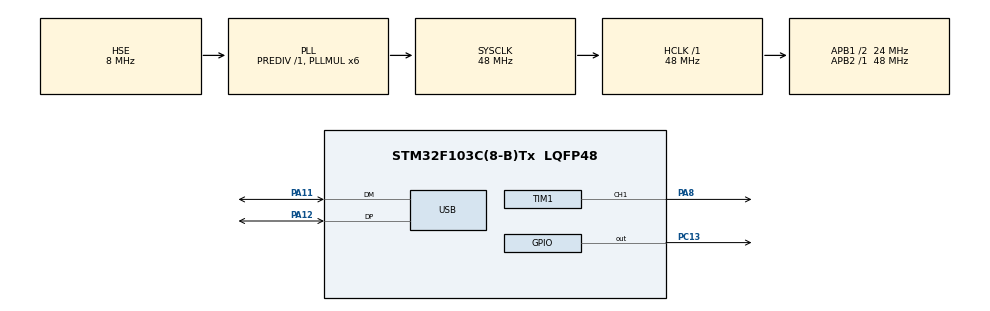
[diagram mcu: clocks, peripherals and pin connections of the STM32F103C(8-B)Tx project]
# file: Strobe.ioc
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Mcu.Family=STM32F1
Mcu.Name=STM32F103C(8-B)Tx
Mcu.Package=LQFP48
NVIC.PriorityGroup=NVIC_PRIORITYGROUP_4
NVIC.USB_HP_CAN1_TX_IRQn=true\:0\:0\:false\:false\:true\:true\:true\:true
NVIC.USB_LP_CAN1_RX0_IRQn=true\:0\:0\:false\:false\:true\:true\:true\:true
PA11.Mode=Device
PA11.Signal=USB_DM
PA12.Mode=Device
PA12.Signal=USB_DP
PA13.Mode=Serial_Wire
PA13.Signal=SYS_JTMS-SWDIO
PA14.Mode=Serial_Wire
PA14.Signal=SYS_JTCK-SWCLK
PA8.GPIO_Speed=GPIO_SPEED_FREQ_HIGH
PA8.Signal=S_TIM1_CH1
PC13-TAMPER-RTC.Signal=GPIO_Output
PD0-OSC_IN.Mode=HSE-External-Oscillator
PD0-OSC_IN.Signal=RCC_OSC_IN
PD1-OSC_OUT.Mode=HSE-External-Oscillator
PD1-OSC_OUT.Signal=RCC_OSC_OUT
ProjectManager.HeapSize=0x200
ProjectManager.StackSize=0x400
ProjectManager.TargetToolchain=STM32CubeIDE
RCC.AHBFreq_Value=48000000
RCC.APB1CLKDivider=RCC_HCLK_DIV2
RCC.APB1Freq_Value=24000000
RCC.APB1TimFreq_Value=48000000
RCC.APB2Freq_Value=48000000
RCC.APB2TimFreq_Value=48000000
RCC.HCLKFreq_Value=48000000
RCC.PLLMUL=RCC_PLL_MUL6
RCC.SYSCLKFreq_VALUE=48000000
RCC.SYSCLKSource=RCC_SYSCLKSOURCE_PLLCLK
RCC.USBFreq_Value=48000000
SH.S_TIM1_CH1.0=TIM1_CH1,PWM Generation1 CH1
TIM1.AutoReloadPreload=TIM_AUTORELOAD_PRELOAD_ENABLE
TIM1.Channel-PWM\ Generation1\ CH1=TIM_CHANNEL_1
TIM1.OCIdleState_1=TIM_OCIDLESTATE_RESET
TIM1.OCPolarity_1=TIM_OCPOLARITY_HIGH
TIM1.Period=1999
TIM1.Prescaler=731
TIM1.Pulse-PWM\ Generation1\ CH1=500
TIM1.RepetitionCounter=0
TIM1.TIM_MasterSlaveMode=TIM_MASTERSLAVEMODE_DISABLE
USB_DEVICE.CLASS_NAME_FS=CDC
USB_DEVICE.VirtualMode=Cdc
USB_DEVICE.VirtualModeFS=Cdc_FS
VP_USB_DEVICE_VS_USB_DEVICE_CDC_FS.Mode=CDC_FS
board=custom

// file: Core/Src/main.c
/* USER CODE BEGIN Header */
/**
  ******************************************************************************
  * @file           : main.c
  * @brief          : Main program body
  ******************************************************************************
  * @attention
  *
  * Copyright (c) 2024 STMicroelectronics.
  * All rights reserved.
  *
  * This software is licensed under terms that can be found in the LICENSE file
  * in the root directory of this software component.
  * If no LICENSE file comes with this software, it is provided AS-IS.
  *
  ******************************************************************************
  */
/* USER CODE END Header */
#include "main.h"
#include "tim.h"
#include "usb_device.h"
#include "gpio.h"

/* USER CODE BEGIN Includes */
#if defined(UNITY_TEST)
  #include "unity.h"
  #include "unity_fixture.h"

  void RunAllTests(void);
#endif
/* USER CODE END Includes */

/* USER CODE BEGIN PV */

#if defined(UNITY_TEST)
  uint8_t buffer[64] = "1.0.0.50.100.100.0";
#else
  uint8_t buffer[64];
#endif

volatile uint8_t fill_buffer_flag = 0;
volatile uint8_t refresh_parameters = 0;
volatile uint8_t status_timer_flag = 0;

struct parameters_t{
	int status;
	int power;
	int light;
	int brightness;
	int frequency;
	int period;
}my_parameters;

typedef enum status_t{
	NO_ERR,
	ERR,
	NO_VALID,
	CONFLICT_Values,
	FAILURE,
	ON,
	OFF
}status;

/* USER CODE END PV */

void SystemClock_Config(void);
/* USER CODE BEGIN PFP */
#if defined(UNITY_TEST)
extern void initialise_monitor_handles(viod);
#endif
status fill_parameters(void);
status set_parameters (void);
status set_light (void);
status set_power (void);
status set_strob (void);
status set_shutdown(void);
status reset_shutdown(void);

/* USER CODE END PFP */

int main(void)
{

  /* MCU Configuration--------------------------------------------------------*/

  /* Reset of all peripherals, Initializes the Flash interface and the Systick. */
  HAL_Init();

  /* USER CODE BEGIN Init */
#if !defined(UNITY_TEST_HOST)
  /* USER CODE END Init */

  /* Configure the system clock */
  SystemClock_Config();

  /* Initialize all configured peripherals */
  MX_GPIO_Init();
  MX_TIM1_Init();
  MX_USB_DEVICE_Init();
  /* USER CODE BEGIN 2 */
#endif
#if defined(UNITY_TEST)
  initialise_monitor_handles();
 #endif

  /* USER CODE END 2 */

  /* Infinite loop */
  /* USER CODE BEGIN WHILE */
#if !defined(UNITY_TEST)
  while (1)
  {
	  if (fill_buffer_flag){
		  fill_buffer_flag = 0;
		  fill_parameters();
	  }

	  if (refresh_parameters){
		  refresh_parameters = 0;
		  set_parameters();
	  }
    /* USER CODE END WHILE */

    /* USER CODE BEGIN 3 */
  }
#else

  my_parameters.status = 1;
  my_parameters.power = 0;
  my_parameters.light = 0;
  my_parameters.brightness = 50;
  my_parameters.frequency = 100;
  my_parameters.period = 100;

  UnityMain(0, NULL, RunAllTests);
  while(1);
#endif
  /* USER CODE END 3 */
}

void SystemClock_Config(void)
{
  RCC_OscInitTypeDef RCC_OscInitStruct = {0};
  RCC_ClkInitTypeDef RCC_ClkInitStruct = {0};
  RCC_PeriphCLKInitTypeDef PeriphClkInit = {0};

  /** Initializes the RCC Oscillators according to the specified parameters
  * in the RCC_OscInitTypeDef structure.
  */
  RCC_OscInitStruct.OscillatorType = RCC_OSCILLATORTYPE_HSE;
  RCC_OscInitStruct.HSEState = RCC_HSE_ON;
  RCC_OscInitStruct.HSEPredivValue = RCC_HSE_PREDIV_DIV1;
  RCC_OscInitStruct.HSIState = RCC_HSI_ON;
  RCC_OscInitStruct.PLL.PLLState = RCC_PLL_ON;
  RCC_OscInitStruct.PLL.PLLSource = RCC_PLLSOURCE_HSE;
  RCC_OscInitStruct.PLL.PLLMUL = RCC_PLL_MUL6;
  if (HAL_RCC_OscConfig(&RCC_OscInitStruct) != HAL_OK)
  {
    Error_Handler();
  }

  /** Initializes the CPU, AHB and APB buses clocks
  */
  RCC_ClkInitStruct.ClockType = RCC_CLOCKTYPE_HCLK|RCC_CLOCKTYPE_SYSCLK
                              |RCC_CLOCKTYPE_PCLK1|RCC_CLOCKTYPE_PCLK2;
  RCC_ClkInitStruct.SYSCLKSource = RCC_SYSCLKSOURCE_PLLCLK;
  RCC_ClkInitStruct.AHBCLKDivider = RCC_SYSCLK_DIV1;
  RCC_ClkInitStruct.APB1CLKDivider = RCC_HCLK_DIV2;
  RCC_ClkInitStruct.APB2CLKDivider = RCC_HCLK_DIV1;

  if (HAL_RCC_ClockConfig(&RCC_ClkInitStruct, FLASH_LATENCY_1) != HAL_OK)
  {
    Error_Handler();
  }
  PeriphClkInit.PeriphClockSelection = RCC_PERIPHCLK_USB;
  PeriphClkInit.UsbClockSelection = RCC_USBCLKSOURCE_PLL;
  if (HAL_RCCEx_PeriphCLKConfig(&PeriphClkInit) != HAL_OK)
  {
    Error_Handler();
  }
}

/* USER CODE BEGIN 4 */
status fill_parameters(void){
	char sep []= ".";
	char *mystr;
	mystr = strtok(buffer, sep);

	for (int i=0; i<=6; i++){
	   char *mystr_last = mystr;
	   mystr = strtok (NULL,sep);
	   if(mystr == NULL) break;
	   int num = mystr - mystr_last;
	   (num < 1) ? (num = 1) : (num--);
	   char numeric [7] = {0}; //4 default
	   memcpy(&numeric, mystr_last, num);
	   switch (i){
		   case 0:
			   my_parameters.status=atoi(numeric);

			   break;
		   case 1:
			   my_parameters.power=atoi(numeric);

			   break;
		   case 2:
			   my_parameters.light=atoi(numeric);

			   break;
		   case 3:
			   my_parameters.brightness=atoi(numeric);

			   break;
		   case 4:
			   my_parameters.frequency=atoi(numeric);

			   break;
		   case 5:
			   my_parameters.period=atoi(numeric);

			   break;
	   }
	}
	refresh_parameters = 1;
	return NO_ERR;
}

status set_parameters (void){

		set_power();
		set_shutdown();
		if (my_parameters.light && my_parameters.status){
			set_light();
		}

		if ((0 == my_parameters.light) && my_parameters.status){
			set_strob();
		}

		return NO_ERR;
}

status set_power (void){
	if (my_parameters.power) {
		HAL_GPIO_WritePin(GPIOC, GPIO_PIN_13, GPIO_PIN_SET);
		return ON;
	}
	else {
		HAL_GPIO_WritePin(GPIOC, GPIO_PIN_13, GPIO_PIN_RESET);
		return OFF;
	}
}

status set_light (void){

	uint32_t brightness = (uint32_t)(((199 + 1) * my_parameters.brightness) / 100);
	TIM1->ARR = 199;
	if (brightness > (TIM1->ARR + 1)) return CONFLICT_Values;
	TIM1->CCR1 = brightness;
	set_shutdown();
	if (TIM1->CCR1 != brightness) return ERR;
	return ON;
}

status set_strob (void){

	uint32_t freq = (uint32_t) ((SystemCoreClock / (TIM1->PSC + 1)) / (my_parameters.frequency) - 1);
	//uint32_t period = (uint32_t) my_parameters.period / ((freq+1) / my_parameters.frequency);
	uint32_t period = (uint32_t) (freq + 1) * (my_parameters.frequency * my_parameters.period) / 1000000 ;
	if ((TIM1->ARR != freq) || (TIM1->CCR1 != period )){
		TIM1->ARR = freq;
		TIM1->CCR1 = period;
		set_shutdown();
		return NO_ERR;
	}

	return FAILURE;

}

status set_shutdown(void){
	HAL_StatusTypeDef status;
	if (0 == my_parameters.status) {
		status = HAL_TIM_PWM_Stop(&htim1, TIM_CHANNEL_1);
	}
	if(my_parameters.status) {
		status = HAL_TIM_PWM_Start(&htim1, TIM_CHANNEL_1);
	}
	if(HAL_ERROR ==  status) return FAILURE;
	return NO_ERR;
}
/* USER CODE END 4 */

void Error_Handler(void)
{
  __disable_irq();
  while (1)
  {
  }
}
